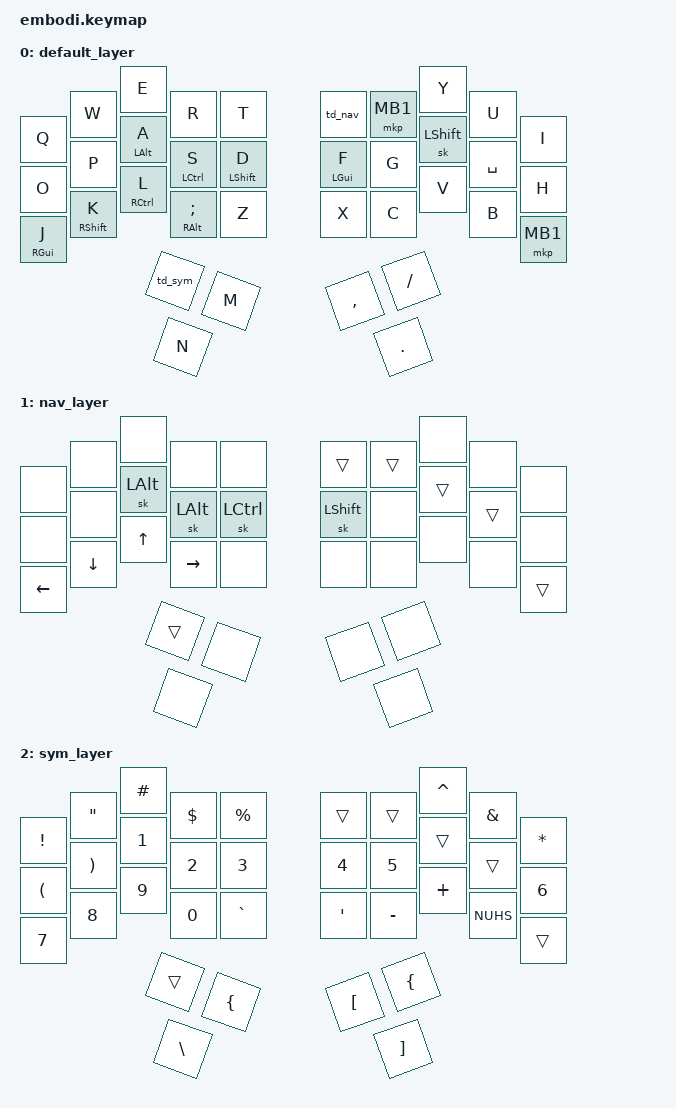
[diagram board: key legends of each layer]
/*
 * Copyright (c) 2020 The ZMK Contributors
 *
 * SPDX-License-Identifier: MIT
 */

// Imports
// -----------------------------------------------------------------------------------------------

#include <behaviors.dtsi>
#include <dt-bindings/zmk/bt.h>
#include <dt-bindings/zmk/keys.h>
#include <dt-bindings/zmk/mouse.h>
#include <dt-bindings/zmk/outputs.h>

// Layer Names
// -----------------------------------------------------------------------------------------------

#define DEFAULT 0
#define NAV     1
#define SYM     2
// #define MOUSE   3

// Combo builder
// -----------------------------------------------------------------------------------------------

// Function to build single line combo
#define COMBO(NAME, BINDINGS, KEYPOS) \
  combo_##NAME { \
    timeout-ms = <50>; \
    bindings = <BINDINGS>; \
    key-positions = <KEYPOS>; \
    layers = <0>; \
  };


/ {

// Combos (Chords)
// -----------------------------------------------------------------------------------------------

// Combo key numbering
// -----------------------------------------------------------------------------
// |  0  |  1  |  2  |  3  |  4  |  5  |   |  6  |  7  |  8  |  9  | 10  | 11  |
// | 12  | 13  | 14  | 15  | 16  | 17  |   | 18  | 19  | 20  | 21  | 22  | 23  |
// | 24  | 25  | 26  | 27  | 28  | 29  |   | 30  | 31  | 32  | 33  | 34  | 35  |

// combo ideas: key repeat, [MB2..MB5], symbols?

    combos {
        compatible = "zmk,combos";
        COMBO(L0,   &to 0,    0  1) // ? return to L0
        COMBO(ESC,  &kp ESC,  1  2)
        COMBO(TAB,  &kp TAB,  2  3)
        COMBO(BSPC, &kp BSPC, 8  9)
        COMBO(RET,  &kp RET,  9 10)
        // COMBO(,     &kp    ,  0  0)
    };

// Behaviors
// -----------------------------------------------------------------------------------------------

    behaviors {

        // TODO: switch to mod morph
        // ? what hapens if held ? should release on release.
        td_l0: tap_dance_layer0 {
            compatible = "zmk,behavior-tap-dance";
            #binding-cells = <0>;
            tapping-term-ms = <200>;
            bindings = <&sl 0>, <&to 0>;
        };

        td_nav: tap_dance_layer_nav {
            compatible = "zmk,behavior-tap-dance";
            #binding-cells = <0>;
            tapping-term-ms = <200>;
            bindings = <&sl NAV>, <&to NAV>;
        };

        td_sym: tap_dance_layer_sym {
            compatible = "zmk,behavior-tap-dance";
            #binding-cells = <0>;
            tapping-term-ms = <200>;
            bindings = <&sl SYM>, <&to SYM>;
        };

        td_l3: tap_dance_layer_3 {
            compatible = "zmk,behavior-tap-dance";
            #binding-cells = <0>;
            tapping-term-ms = <200>;
            bindings = <&sl 3>, <&to 3>;
        };
    };

// Keymap
// -----------------------------------------------------------------------------------------------

    keymap { 
        compatible = "zmk,keymap";

// DEFAULT Layer (0)
// -----------------------------------------------------------------------------------------------

// ---------------------------------------------------------------------
// |  Q   |  W   |   E  |  R   |  T  |   |  Y  |  U  |  I  |  O  |  P  |
//             (ESC)  (TAB)                        (BSP) (RET)
// |A(ALT)|S(CTR)|D(SHF)|F(GUI)|  G  |   |  H  |  J  |  K  |  L  | ;(:)|
// |  Z   |  X   |   C  |  V   |  B  |   |  N  |  M  | ,(<)| .(>)| /(?)| 
//               | NAV  |      | MB1 |   | MB1 |     | SYM |                  
//                      | SHFT |               | SPC |  

        default_layer{ bindings = <

   &kp Q      &kp W       &kp E       &kp R      &kp T &td_nav     &mkp MB1 &kp Y &kp U      &kp I       &kp O       &kp P    
   &mt LALT A &mt LCTRL S &mt LSHFT D &mt LGUI F &kp G &sk LSHFT   &kp SPC  &kp H &mt RGUI J &mt RSHFT K &mt RCTRL L &mt RALT SEMI
   &kp Z      &kp X       &kp C       &kp V      &kp B &mkp MB1    &td_sym  &kp N &kp M      &kp COMMA   &kp DOT     &kp FSLH 

        >; };       
// IDEA: could use mod-morph to give thumb clusters 2nd &kp behaviour?
// ? &lt not on spc as you hold it

// NAV Layer (1)
// -----------------------------------------------------------------------------------------------

        nav_layer{ bindings = <

   &none    &none    &none     &none     &none &trans   &trans &none &none    &none    &none  &none  
   &sk LALT &sk LALT &sk LCTRL &sk LSHFT &none &trans   &trans &none &kp LEFT &kp DOWN &kp UP &kp RIGHT
   &none    &none    &none     &none     &none &trans   &trans &none &none    &none    &none  &none  

        >; };


// SYM Layer (2)
// -----------------------------------------------------------------------------------------------

// -----------------------------------------------------------------
// |  !  |  "  |  £  |  $  |  %  |   |  ^  |  &  |  *  |  (  |  )  |
// |  1  |  2  |  3  |  4  |  5  |   |  6  |  7  |  8  |  9  |  0  |
// | `(¬)| '(@)| -(_)| +(=)| #(~)|   | \(|)|  {  |  [  |  ]  |  }  |

        sym_layer{ bindings = <

   &kp EXCL  &kp DQT  &kp HASH  &kp DLLR &kp PRCNT &trans   &trans &kp CARET &kp AMPS &kp ASTRK &kp LPAR &kp RPAR
   &kp N1    &kp N2   &kp N3    &kp N4   &kp N5    &trans   &trans &kp N6    &kp N7   &kp N8    &kp N9   &kp N0 
   &kp GRAVE &kp APOS &kp MINUS &kp PLUS &kp NUHS  &trans   &trans &kp BSLH  &kp LBRC &kp LBKT  &kp RBKT &kp LBRC

        >; };

    };
};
